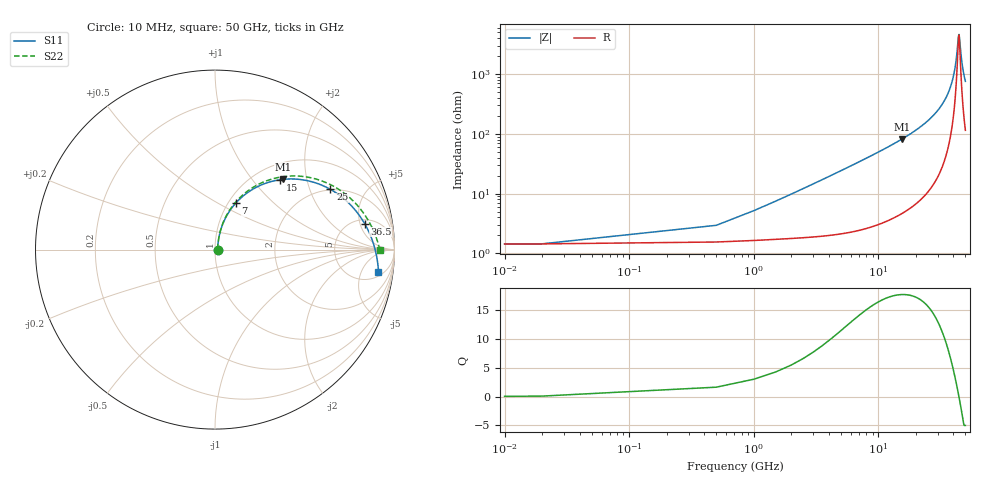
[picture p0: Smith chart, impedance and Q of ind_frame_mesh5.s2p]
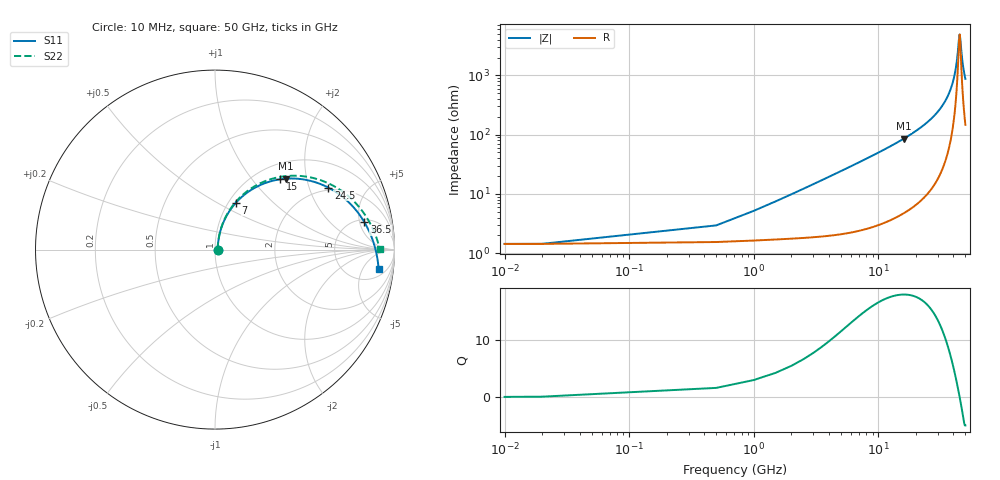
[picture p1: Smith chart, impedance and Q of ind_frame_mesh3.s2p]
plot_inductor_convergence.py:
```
#!/usr/bin/env python
"""Inductance / Q-factor / resistance convergence for the ind_frame spiral
inductor, evaluated the same way as D:\\github\\plot_inductor\\plot_inductor.py:
2-port S-parameters -> differential Z (Zdiff = Z11-Z12-Z21+Z22) -> Ldiff =
Im(Zdiff)/omega, Qdiff = Im(Zdiff)/Re(Zdiff), Rdiff = Re(Zdiff).

Reads de-embedded 2-port Touchstone files from results/snp/ for the uniform
mesh sweep (order=2), the AMR final result, and the order=1 comparison
sweep, then produces:
  - separate overlay plots of L, Q, R vs. frequency across the order=2 mesh
    sweep + AMR
  - a delta table (L, Q) vs. the finest order=2 mesh, at a few frequencies
  - an order=1 vs order=2 overlay (same cell sizes) to show what accuracy is
    given up for the order=1 speed-up (see order_comparison.py for timing)
"""
import os
import csv
import math
import numpy as np
import skrf as rf
import matplotlib
matplotlib.use("Agg")
import matplotlib.pyplot as plt

HERE = os.path.dirname(os.path.abspath(__file__))
SNP_DIR = os.path.join(HERE, "snp")
PLOT_DIR = os.path.join(HERE, "plots")

# order=2 uniform mesh sweep (finest last, for reference)
UNIFORM_SERIES = [
    ("mesh5", "5 um (uniform)", "ind_frame_mesh5.s2p"),
    ("mesh3", "3 um (uniform)", "ind_frame_mesh3.s2p"),
    ("mesh2", "2 um (uniform)", "ind_frame_mesh2.s2p"),
    ("mesh1", "1 um (uniform)", "ind_frame_mesh1.s2p"),
]
AMR_ENTRY = ("amr2", "AMR (5 um start, 2 it.)", "ind_frame_amr2_final.s2p")

# order=1 comparison sweep (same cell sizes as a subset of the order=2 sweep)
ORDER1_SERIES = [
    ("mesh3_order1", "3 um, order 1", "ind_frame_mesh3_order1.s2p"),
    ("mesh2_order1", "2 um, order 1", "ind_frame_mesh2_order1.s2p"),
    ("mesh1_order1", "1 um, order 1", "ind_frame_mesh1_order1.s2p"),
]

FMIN_HZ = 100e6  # avoid divide-by-zero near DC, same convention as plot_inductor.py

PARAM_INFO = {
    "L": ("Diff. Inductance (nH)", "Differential inductance", 1e9),
    "Q": ("Diff. Q factor", "Differential Q factor", 1),
    "R": ("Diff. Resistance (Ohm)", "Differential resistance", 1),
}


def load(fname):
    path = os.path.join(SNP_DIR, fname)
    if not os.path.isfile(path):
        return None
    return rf.Network(path)


def get_diff_model(nw):
    z = nw.z
    z11, z12, z21, z22 = z[:, 0, 0], z[:, 0, 1], z[:, 1, 0], z[:, 1, 1]
    zdiff = z11 - z12 - z21 + z22
    freq = nw.frequency.f
    omega = freq * 2 * math.pi
    Ldiff = zdiff.imag / omega
    Rdiff = zdiff.real
    Qdiff = zdiff.imag / zdiff.real
    return freq, Rdiff, Ldiff, Qdiff


def restrict(nw, fmin, fmax):
    fspec = f"{int(fmin/1e6)}-{int(fmax/1e6)}mhz"
    return nw[fspec]


def find_srf_hz(freq, Ldiff):
    """Frequency where the differential inductance crosses zero (self-resonance)."""
    idx = np.where(np.diff(np.sign(Ldiff)))[0]
    if len(idx) == 0:
        return None
    i = idx[0]
    f0, f1 = freq[i], freq[i + 1]
    l0, l1 = Ldiff[i], Ldiff[i + 1]
    return f0 - l0 * (f1 - f0) / (l1 - l0)


def load_series(series):
    loaded = []
    for key, label, fname in series:
        nw = load(fname)
        if nw is None:
            print(f"WARNING: missing {fname}, skipping")
            continue
        fmax = nw.frequency.f.max()
        nw = restrict(nw, FMIN_HZ, fmax)
        loaded.append((key, label, nw))
    return loaded


def build_traces(loaded, amr_entry):
    traces = {}
    for key, label, nw in loaded:
        freq, Rdiff, Ldiff, Qdiff = get_diff_model(nw)
        traces[key] = dict(label=label, freq=freq, R=Rdiff, L=Ldiff, Q=Qdiff)

    amr_trace = None
    if amr_entry is not None:
        amr_nw = load(amr_entry[2])
        if amr_nw is not None:
            fmax = amr_nw.frequency.f.max()
            amr_nw = restrict(amr_nw, FMIN_HZ, fmax)
            freq, Rdiff, Ldiff, Qdiff = get_diff_model(amr_nw)
            amr_trace = dict(label=amr_entry[1], freq=freq, R=Rdiff, L=Ldiff, Q=Qdiff)
    return traces, amr_trace


def plot_series(loaded, amr_entry, title_suffix, out_prefix, fmax_ghz=None):
    """Separate overlay plots (one PNG each) of L, Q, R vs frequency."""
    traces, amr_trace = build_traces(loaded, amr_entry)

    if not traces and amr_trace is None:
        print(f"No data for {out_prefix}, skipping plots")
        return None

    ref = list(traces.values())[-1] if traces else amr_trace
    srf_hz = find_srf_hz(ref["freq"], ref["L"])
    if fmax_ghz is None:
        if srf_hz is not None:
            fmax_ghz = 1.2 * srf_hz / 1e9
        else:
            fmax_ghz = ref["freq"].max() / 1e9

    colors = ["#4c72b0", "#dd8452", "#55a868", "#c44e52", "#8172b2", "#937860"]
    all_traces = list(traces.values()) + ([amr_trace] if amr_trace else [])
    all_keys = list(traces.keys()) + (["amr"] if amr_trace else [])

    srf_note = f" (SRF~{srf_hz/1e9:.2f} GHz)" if srf_hz else ""

    for pname, (ylabel, title, scale) in PARAM_INFO.items():
        fig, ax = plt.subplots(figsize=(7, 5.5))
        for idx, (key, tr) in enumerate(zip(all_keys, all_traces)):
            color = colors[idx % len(colors)]
            style = "--" if key == "amr" or key.endswith("_order1") else "-"
            freq_ghz = tr["freq"] / 1e9
            mask = freq_ghz <= fmax_ghz
            ax.plot(freq_ghz[mask], tr[pname][mask] * scale, color=color, linestyle=style, label=tr["label"])
        ax.set_xlabel("Frequency (GHz)")
        ax.set_ylabel(ylabel)
        ax.set_xlim(0, fmax_ghz)
        ax.grid(True, alpha=0.3)
        ax.legend(fontsize=8)
        ax.set_title(f"{title} {title_suffix}{srf_note}")
        fig.tight_layout()
        out_path = os.path.join(PLOT_DIR, f"{out_prefix}_{pname.lower()}.png")
        fig.savefig(out_path, dpi=150)
        plt.close(fig)
        print(f"Wrote plot: {out_path}")

    return dict(traces=traces, amr=amr_trace, srf_hz=srf_hz, fmax_ghz=fmax_ghz)


def delta_table(loaded, amr_entry, eval_freqs_ghz, out_csv):
    traces = {}
    for key, label, nw in loaded:
        freq, Rdiff, Ldiff, Qdiff = get_diff_model(nw)
        traces[key] = dict(label=label, freq=freq, L=Ldiff, Q=Qdiff)
    if amr_entry is not None:
        amr_nw = load(amr_entry[2])
        if amr_nw is not None:
            fmax = amr_nw.frequency.f.max()
            amr_nw = restrict(amr_nw, FMIN_HZ, fmax)
            freq, Rdiff, Ldiff, Qdiff = get_diff_model(amr_nw)
            traces["amr"] = dict(label=amr_entry[1], freq=freq, L=Ldiff, Q=Qdiff)

    if len(traces) < 2:
        print("Not enough data for delta table, skipping")
        return

    ref_key = list(traces.keys())[len(loaded) - 1] if loaded else list(traces.keys())[-1]  # finest uniform mesh
    ref = traces[ref_key]

    rows = []
    for f_ghz in eval_freqs_ghz:
        for key, tr in traces.items():
            if key == ref_key:
                continue
            fa = tr["freq"]
            fb = ref["freq"]
            ia = int(np.argmin(np.abs(fa - f_ghz * 1e9)))
            ib = int(np.argmin(np.abs(fb - f_ghz * 1e9)))
            if abs(fa[ia] - f_ghz * 1e9) > 0.6e9 or abs(fb[ib] - f_ghz * 1e9) > 0.6e9:
                continue
            dL_pct = 100 * (tr["L"][ia] - ref["L"][ib]) / ref["L"][ib] if ref["L"][ib] else float("nan")
            dQ_pct = 100 * (tr["Q"][ia] - ref["Q"][ib]) / ref["Q"][ib] if ref["Q"][ib] else float("nan")
            rows.append([f"{f_ghz:.1f}", tr["label"], f"{tr['L'][ia]*1e9:.4f}", f"{ref['L'][ib]*1e9:.4f}",
                         f"{dL_pct:+.2f}", f"{tr['Q'][ia]:.2f}", f"{ref['Q'][ib]:.2f}", f"{dQ_pct:+.2f}"])

    with open(out_csv, "w", newline="") as f:
        writer = csv.writer(f)
        writer.writerow(["Freq (GHz)", "Mesh", "L (nH)", f"L_ref ({ref['label']}) (nH)", "dL (%)",
                          "Q", f"Q_ref ({ref['label']})", "dQ (%)"])
        writer.writerows(rows)
    print(f"Wrote delta table: {out_csv}")


def main():
    os.makedirs(PLOT_DIR, exist_ok=True)

    uniform_loaded = load_series(UNIFORM_SERIES)
    order1_loaded = load_series(ORDER1_SERIES)

    if uniform_loaded:
        result = plot_series(uniform_loaded, AMR_ENTRY, "vs. mesh (order 2)", "inductor_LQR_convergence")
        if result:
            eval_freqs = [1.0, 10.0, 25.0]
            if result["srf_hz"]:
                eval_freqs.append(round(result["srf_hz"] / 1e9 * 0.9, 1))
            delta_table(uniform_loaded, AMR_ENTRY, sorted(set(eval_freqs)),
                        os.path.join(HERE, "delta_LQ_table.csv"))

    # order1 vs order2 overlay at matching cell sizes
    matching_order2 = [(k, l, nw) for k, l, nw in uniform_loaded if k in {"mesh1", "mesh2", "mesh3"}]
    combined = matching_order2 + order1_loaded
    if combined:
        plot_series(combined, None, "order 1 vs order 2 (matching cell sizes)", "inductor_LQR_order_comparison")


if __name__ == "__main__":
    main()
```
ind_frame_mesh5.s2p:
! Created with skrf 2.1.0 (http://scikit-rf.org).
# GHz S DB R 50.0
! Port[1] = P1
! Port[2] = P2
!freq dBS11 angS11 dBS21 angS21 dBS12 angS12 dBS22 angS22
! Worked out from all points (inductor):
!   102 points, 10 MHz to 50 GHz, reference 50 ohm
!   read as 1/Y11, port 2 shorted: L = 765 pH near 1.5 GHz
!   highest Q = 17.6 at 15.5 GHz (marker M1), where L = 841 pH
!   self-resonance near 44 GHz
!   S11 on the Smith chart (normalised r, x): 10 MHz: 1.03, +0.00; 7 GHz: 1.08, +0.61; 15 GHz: 1.29, +1.40; 25 GHz: 1.97, +2.79; 36.5 GHz: 5.84, +5.95; 50 GHz: 7, -11
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0.01  -36.99 1.9  -0.12 -0.0  -0.12 -0.0  -36.99 2.0
1  -26.76 67.0  -0.15 -3.1  -0.15 -3.1  -26.76 67.1
2  -21.26 73.3  -0.19 -6.0  -0.19 -6.0  -21.26 73.5
4  -15.49 72.4  -0.31 -11.6  -0.31 -11.6  -15.49 72.9
7  -10.93 65.9  -0.58 -19.9  -0.58 -19.9  -10.93 66.8
15  -5.48 47.0  -1.78 -39.3  -1.78 -39.3  -5.49 49.0
15.5  -5.28 45.9  -1.87 -40.3  -1.87 -40.3  -5.29 47.9
25  -2.79 27.6  -3.73 -58.4  -3.73 -58.4  -2.80 30.9
25.5  -2.71 26.7  -3.83 -59.2  -3.83 -59.2  -2.72 30.2
36.5  -1.45 9.8  -6.18 -75.5  -6.18 -75.5  -1.46 15.0
50  -0.73 -7.7  -9.30 -92.0  -9.30 -92.0  -0.74 -0.1
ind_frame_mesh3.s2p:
! Created with skrf 2.1.0 (http://scikit-rf.org).
# GHz S DB R 50.0
! Port[1] = P1
! Port[2] = P2
!freq dBS11 angS11 dBS21 angS21 dBS12 angS12 dBS22 angS22
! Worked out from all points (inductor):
!   102 points, 10 MHz to 50 GHz, reference 50 ohm
!   read as 1/Y11, port 2 shorted: L = 774 pH near 1 GHz
!   highest Q = 18.1 at 16 GHz (marker M1), where L = 850 pH
!   self-resonance near 44.5 GHz
!   S11 on the Smith chart (normalised r, x): 10 MHz: 1.03, +0.00; 7 GHz: 1.08, +0.62; 15 GHz: 1.28, +1.41; 24.5 GHz: 1.89, +2.71; 36.5 GHz: 5.52, +5.93; 50 GHz: 8, -11
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0.01  -36.98 2.0  -0.12 -0.0  -0.12 -0.0  -36.98 2.0
1  -26.71 67.2  -0.15 -3.1  -0.15 -3.1  -26.71 67.3
2  -21.20 73.4  -0.19 -6.0  -0.19 -6.0  -21.20 73.6
4  -15.42 72.5  -0.31 -11.7  -0.31 -11.7  -15.43 72.9
7  -10.86 65.9  -0.59 -19.9  -0.59 -19.9  -10.87 66.7
15  -5.43 47.1  -1.79 -39.3  -1.79 -39.3  -5.44 48.9
16  -5.04 44.9  -1.97 -41.5  -1.97 -41.5  -5.05 46.9
24.5  -2.86 28.7  -3.64 -57.5  -3.64 -57.5  -2.87 31.7
25.5  -2.69 27.0  -3.84 -59.2  -3.84 -59.2  -2.70 30.2
36.5  -1.45 10.4  -6.15 -75.2  -6.15 -75.2  -1.46 15.2
50  -0.74 -6.7  -9.16 -91.4  -9.16 -91.4  -0.75 0.4
